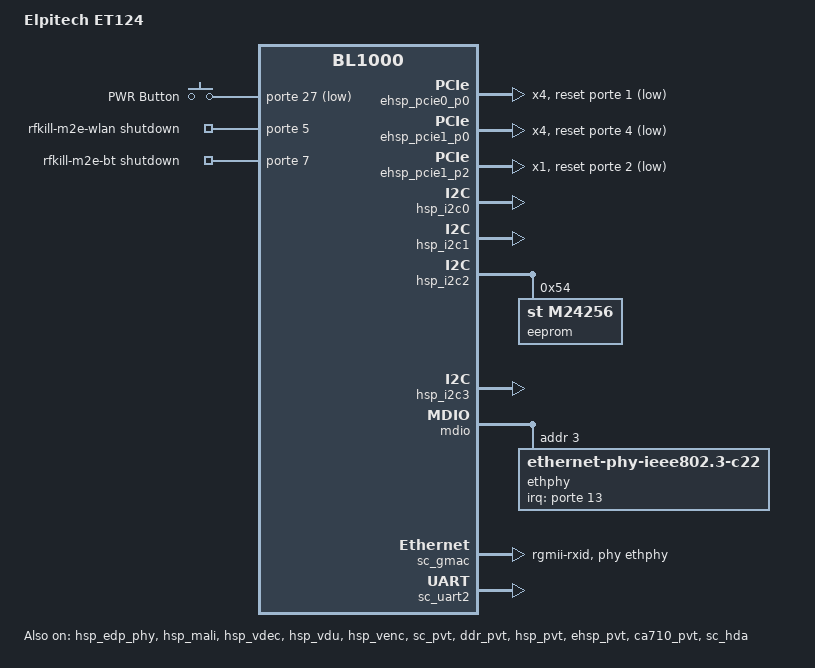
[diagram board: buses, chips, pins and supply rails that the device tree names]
// SPDX-License-Identifier: GPL-2.0
/*
 * Device tree source for Elpitech ET124 v1.0 board
 */

/dts-v1/;

#define USE_BL1000_PCIE1_SS_MODE	3

#include "bl1000.dtsi"
#include <dt-bindings/input/gpio-keys.h>
#include <dt-bindings/input/linux-event-codes.h>

/ {
	model = "Elpitech ET124";
	compatible = "baikal,dbl", "baikal,bl1000";

	aliases {
		ethernet0 = &sc_gmac;
		fru = &fru;
		evdu = &ehsp_vdu;
		vdu = &hsp_vdu;
	};

	cpus {
		baikal,demand-qos = <12>;
		baikal,prefetch-qos = <10>;
		cpu@0 {
			baikal,enable-cbusy-tuning = <1>;
		};
		cpu@100 {
			baikal,enable-cbusy-tuning = <1>;
		};
		cpu@200 {
			baikal,enable-cbusy-tuning = <1>;
		};
		cpu@300 {
			baikal,enable-cbusy-tuning = <1>;
		};
	};

	chosen { };

	uart_clk: uart_clk {
		compatible = "fixed-clock";
		#clock-cells = <0>;
		clock-frequency = <100000000>;
		clock-output-names = "uartclk";
	};

	gpio-keys {
		compatible = "gpio-keys";
		pwr {
			label = "PWR Button";
			linux,code = <116>;
			gpios = <&porte 27 GPIO_ACTIVE_LOW>;
			wakeup-source;
			wakeup-event-action = <EV_ACT_DEASSERTED>;
		};
	};

	rfkill-wlan {
		compatible = "rfkill-gpio";
		label = "rfkill-m2e-wlan";
		radio-type = "wlan";
		shutdown-gpios = <&porte 5 GPIO_ACTIVE_HIGH>;
	};

	rfkill-bt {
		compatible = "rfkill-gpio";
		label = "rfkill-m2e-bt";
		radio-type = "bluetooth";
		shutdown-gpios = <&porte 7 GPIO_ACTIVE_HIGH>;
	};
};

&ehsp_pcie0_p0 {
	status = "okay";
	pinctrl = <&sc_emmc_mux_gpio1>;
	num-lanes = <4>;
	reset-gpios = <&porte 1 GPIO_ACTIVE_LOW>;
};

&ehsp_pcie1_p0 {
	status = "okay";
	num-lanes = <4>;
	reset-gpios = <&porte 4 GPIO_ACTIVE_LOW>;
};

&ehsp_pcie1_p2 {
	status = "okay";
	num-lanes = <1>;
	reset-gpios = <&porte 2 GPIO_ACTIVE_LOW>;
};

&hsp_edp_phy {
	status = "okay";
};

&hsp_i2c0 {
	status = "okay";
	pinctrl = <&hsp_lsp_pin0_i2c0_scl>,
		  <&hsp_lsp_pin1_i2c0_sda>;
};

&hsp_i2c1 {
	status = "okay";
	pinctrl = <&hsp_lsp_pin2_i2c1_scl>,
		  <&hsp_lsp_pin3_i2c1_sda>;
};

&hsp_i2c2 {
	status = "okay";
	pinctrl = <&hsp_lsp_pin4_i2c2_scl>,
		  <&hsp_lsp_pin5_i2c2_sda>;

	eeprom@54 {
		compatible = "st,m24256";
		reg = <0x54>;
	};
};

&hsp_i2c3 { /* Connected to DIMM SPDs */
	status = "okay";
	pinctrl = <&hsp_lsp_pin6_i2c3_scl>,
		  <&hsp_lsp_pin7_i2c3_sda>;
};

&hsp_lsp_pinctrl0 {
	status = "okay";
};

&hsp_lsp_pinctrl1 {
	status = "okay";
};

&hsp_lsp_pinctrl2 {
	status = "okay";
};

&hsp_mali {
	status = "okay";
	baikal,arqos = <10>;
	baikal,awqos = <10>;
};

&hsp_smmu {
	status = "okay";
};

&hsp_vdec {
	status = "okay";
	baikal,arqos = <14>;
	baikal,awqos = <14>;
};

&hsp_vdu {
	status = "okay";
	baikal,dp-lanes = <4>;
	baikal,arqos = <15>;
	baikal,audio-enable;
	backlight {
		min-brightness-level = <10>;
		default-brightness-level = <60>;
		brightness-level-step = <2>;
		pwm-frequency = <20000>;
	};
};

&hsp_venc {
	status = "okay";
};

&mdio {
	ethphy: ethernet-phy@3 {
		compatible = "ethernet-phy-ieee802.3-c22";
		reg = <0x3>;
		interrupt-parent = <&porte>;
		interrupts = <13 IRQ_TYPE_LEVEL_LOW>;
	};
};

&sc_emmc_pinctrl {
	status = "okay";
};

&sc_emmc_pu_pinctrl {
	status = "okay";
};

&sc_emmc_pd_pinctrl {
	status = "okay";
};

&sc_gmac {
	status = "okay";
	pinctrl = <&sc_gmac_sdio_bit0_mode1>,
		  <&sc_emmc_mux_gpio2>;

	phy-handle = <&ethphy>;
	phy-mode = "rgmii-rxid";

	snps,reset-gpios = <&porte 12 GPIO_ACTIVE_LOW>;
	snps,reset-delays-us = <10 10000 50000>;
};

&sc_gmac_sdio_pinctrl {
	status = "okay";
};

&sc_gpio32 {
	status = "okay";
};

&sc_gpio30 {
	status = "okay";
};

&sc_lsp_pinctrl0 {
	status = "okay";
};

&sc_lsp_pinctrl1 {
	status = "okay";
};

&sc_lsp_pinctrl2 {
	status = "okay";
};

&sc_uart2 {
	status = "okay";
	pinctrl = <&sc_lsp_pin12_uart2_rxd>,
		  <&sc_lsp_pin13_uart2_txd>;
};

&sc_pvt {
	status = "okay";
};

&ddr_pvt {
	status = "okay";
};

&hsp_pvt {
	status = "okay";
};

&ehsp_pvt {
	status = "okay";
};

&ca710_pvt {
	status = "okay";
};

&sc_hda {
	status = "okay";
	pinctrl = <&sc_lsp_pin14_hda_rst>,
		  <&sc_lsp_pin15_hda_sync>,
		  <&sc_lsp_pin16_hda_bclk>,
		  <&sc_lsp_pin17_hda_sdo0>,
		  <&sc_lsp_pin18_hda_sdi0>;
	patch-data = "[codec]\n\
0x111d76d5 0x00000100 0\n\
[model]\n\
et124\n\
[pincfg]\n\
0x0a 0x0221413f\n\
0x0b 0x40000000\n\
0x0c 0x02a19120\n\
0x0d 0x40000000\n\
0x0e 0x01813121\n\
0x0f 0x40000000\n\
0x11 0x40000000\n\
0x1f 0x40000000\n\
0x20 0x40000000\n\
[verb]\n\
0x18 0xf01 0x04\n";
};

&ehsp_dp_phy {
	status = "okay";
};

&ehsp_vdu {
	status = "okay";
	baikal,dp-lanes = <4>;
	baikal,arqos = <15>;
	baikal,audio-enable;
};

&hsp_usb1_phy20_l0 {
	status = "okay";
};

&hsp_usb1_phy20_l1 {
	status = "okay";
};

&hsp_usb1_l0 {
	status = "okay";
	dr_mode = "host";
	maximum-speed = "super-speed";
	phys = <&hsp_usb1_phy10g_l0>;
	phy-names = "cdns3,usb3-phy";
};

&hsp_usb1_l1 {
	status = "okay";
	dr_mode = "host";
	maximum-speed = "high-speed";
};

&hsp_usb1_phy10g {
	status = "okay";
};

&hsp_usb1_phy10g_l0 {
	status = "okay";
};

&hsp_usb1_phy10g_l1 {
	status = "okay";
};

&hsp_uart1 {
	status = "okay";
	pinctrl = <&hsp_lsp_pin10_uart1_rxd>,
		  <&hsp_lsp_pin11_uart1_txd>;
};

&hsp_uart2 {
	status = "okay";
	pinctrl = <&hsp_lsp_pin12_uart2_rxd>,
		  <&hsp_lsp_pin13_uart2_txd>;
};

&hsp_usb0_phy20_l0 {
	status = "okay";
};

&hsp_usb0_phy20_l1 {
	status = "okay";
};

&hsp_usb0_l0 {
	status = "okay";
	dr_mode = "host";
	maximum-speed = "super-speed";
	phys = <&hsp_usb0_phy10g_l0>;
	phy-names = "cdns3,usb3-phy";
};

&hsp_usb0_l1 {
	status = "okay";
	dr_mode = "host";
	maximum-speed = "super-speed";
	phys = <&hsp_usb0_phy10g_l1>;
	phy-names = "cdns3,usb3-phy";
};

&hsp_usb0_phy10g {
	status = "okay";
};

&hsp_usb0_phy10g_l0 {
	status = "okay";
};

&hsp_usb0_phy10g_l1 {
	status = "okay";
};

&sc_i2c0 {
	status = "okay";
	pinctrl = <&sc_lsp_pin0_i2c0_scl>,
		  <&sc_lsp_pin1_i2c0_sda>;
};

&sc_i2c1 {
	status = "okay";
	pinctrl = <&sc_lsp_pin2_i2c1_scl>,
		  <&sc_lsp_pin3_i2c1_sda>;
};

&sc_i2c2 {
	status = "okay";
	pinctrl = <&sc_lsp_pin4_i2c2_scl>,
		  <&sc_lsp_pin5_i2c2_sda>;
};

&sc_i2c3 {
	status = "okay";
	pinctrl = <&sc_lsp_pin6_i2c3_scl>,
		  <&sc_lsp_pin7_i2c3_sda>;

	fru: eeprom@50 {
		compatible = "atmel,24c256";
		pagesize = <32>;
		reg = <0x50>;
	};

	eeprom@54 {
		compatible = "st,m24256";
		reg = <0x54>;
	};
};

&sc_uart0 {
	status = "okay";
	pinctrl = <&sc_lsp_pin8_uart0_rxd>,
		  <&sc_lsp_pin9_uart0_txd>;
};

&sc_uart1 {
	status = "okay";
	pinctrl = <&sc_lsp_pin10_uart1_rxd>,
		  <&sc_lsp_pin11_uart1_txd>;
};

&sc_timer0 {
	status = "okay";
};

&sc_timer1 {
	status = "okay";
};

&sc_timer2 {
	status = "okay";
};

&sc_timer3 {
	status = "okay";
};

